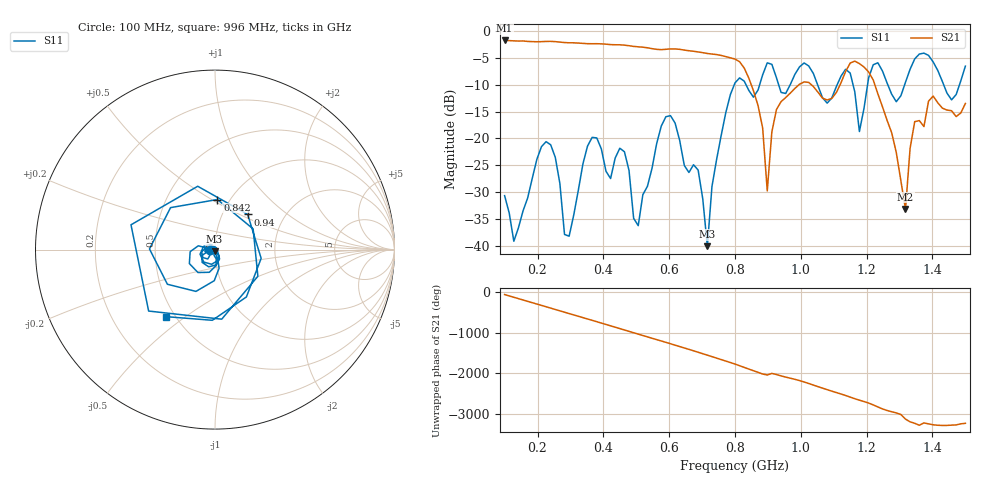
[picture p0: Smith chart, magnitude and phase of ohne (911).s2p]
! NanoVNA-App
! Date: 2025-09-25 14:27:53
! Start: 100MHz Stop: 1,5GHz Points: 101
! S-Parameter data: F S11 S21 S12 S22
# Hz S RI R 50
!  Frequency  S11_Real  S11_Imag  S21_Real  S21_Imag  S12_Real  S12_Imag  S22_Real  S22_Imag
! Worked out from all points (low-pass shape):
!   101 points, 100 MHz to 1.5 GHz, reference 50 ohm
!   highest |S21| = -1.79 dB at 100 MHz (marker M1); lowest = -33.1 dB at 1.318 GHz (marker M2)
!   |S21| within 3 dB of the highest: start of sweep to 771.8 MHz
!   lowest |S11| = -40.0 dB at 716 MHz (marker M3), VSWR 1.02, Z = 49.8 - j0.971 ohm
!   |S11| at or under -10 dB: start of sweep to 797.9 MHz; 833.2 MHz to 875 MHz (41.78 MHz wide, 4.89 % of centre); 1.051 GHz to 1.111 GHz (59.82 MHz wide, 5.54 % of centre) (the widest 3 of 7)
!   S12 and S22 are empty: the file has one direction only
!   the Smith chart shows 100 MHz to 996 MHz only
!   S11 on the Smith chart (normalised r, x): 100 MHz: 0.94, -0.01; 842 MHz: 0.88, +0.53; 940 MHz: 1.31, +0.55; 996 MHz: 0.45, -0.43
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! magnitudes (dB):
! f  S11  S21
! 100 MHz  -30.6  -1.8
! 128 MHz  -39.1  -1.9
! 226 MHz  -20.6  -2.0
! 296 MHz  -38.2  -2.2
! 338 MHz  -24.7  -2.3
! 464 MHz  -22.5  -2.7
! 506 MHz  -36.2  -3.0
! 576 MHz  -17.7  -3.5
! 688 MHz  -25.9  -3.9
! 716 MHz  -40.0  -4.2
! 800 MHz  -9.7  -5.2
! 842 MHz  -11.1  -8.8
! 898 MHz  -6.0  -29.8
! 940 MHz  -11.5  -13.2
! 996 MHz  -6.7  -9.9
! 1.038 GHz  -7.9  -10.4
! 1.178 GHz  -18.7  -6.1
! 1.22 GHz  -6.3  -9.1
! 1.276 GHz  -11.8  -18.9
! 1.318 GHz  -9.6  -33.1
! 1.346 GHz  -5.2  -16.9
! 1.5 GHz  -6.6  -13.5
